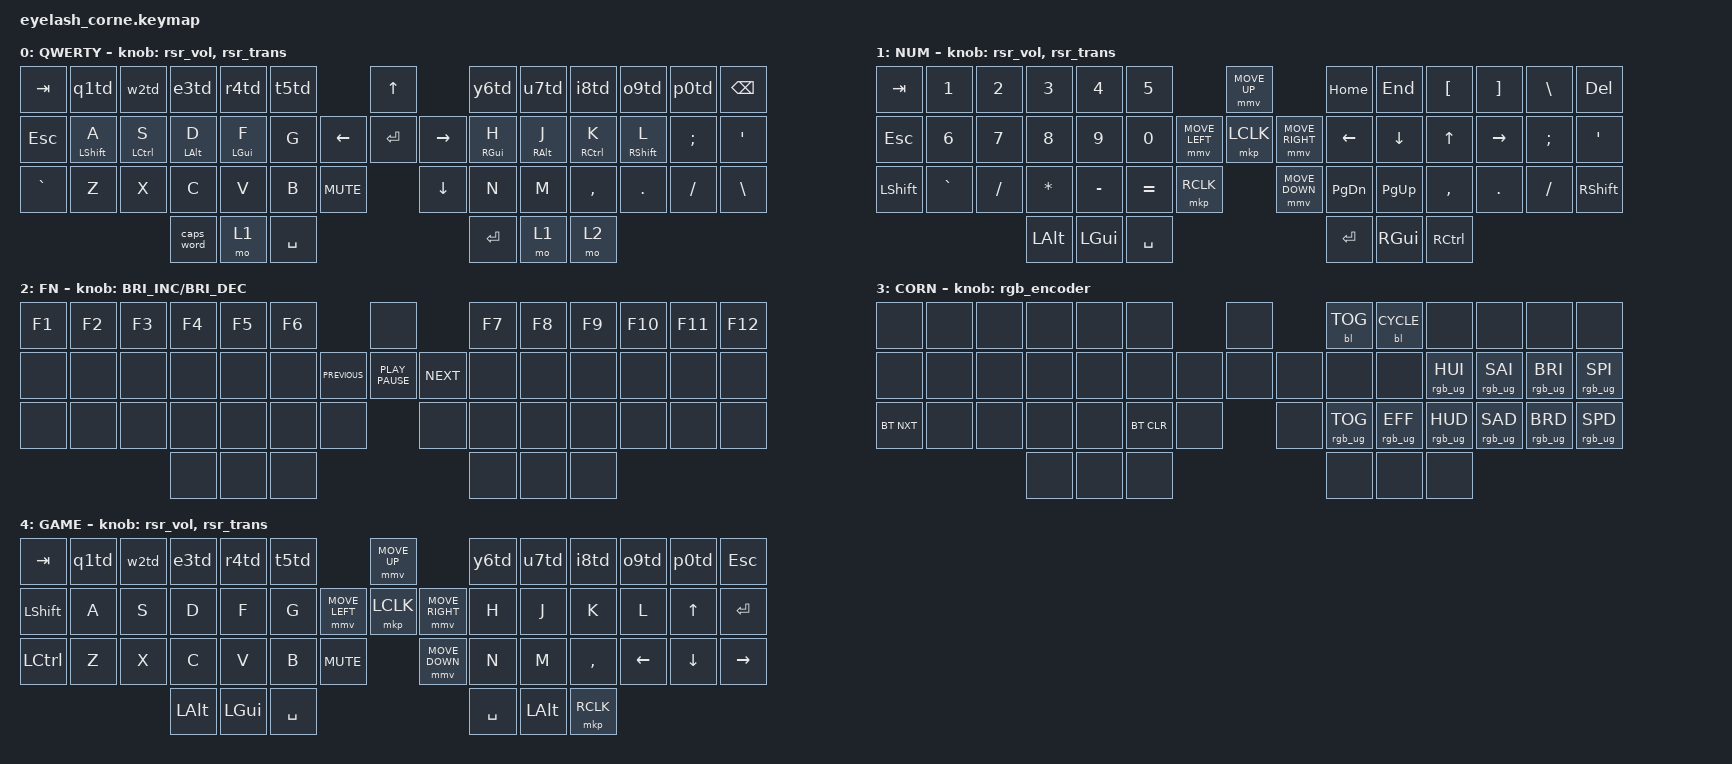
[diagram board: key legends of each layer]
#define ZMK_POINTING_DEFAULT_MOVE_VAL 1200  // 600
#define ZMK_POINTING_DEFAULT_SCRL_VAL 25   // 10
#define LEFT_HAND  0 1 2  3  4  5 13 14 15 16 17 18 28 29 30 31 32 33 42 43 44
#define JOYSTICK   6 19 20 21 35
#define RIGHT_HAND 7 8 9 10 11 12 22 23 24 25 26 27 36 37 38 39 40 41 45 46 47
#define KNOB 34
#define LEFT_THUMB 42 43 44
#define RIGHT_THUMB 45 46 47
#define TAB_POS 0
#define ESC_POS 13
#define HOME_ROW_LEFT 14 15 16 17
#define HOME_ROW_RIGHT 22 23 24 25

#include <input/processors.dtsi>
#include <zephyr/dt-bindings/input/input-event-codes.h>
#include <behaviors.dtsi>
#include <behaviors/runtime-sensor-rotate.dtsi>
#include <dt-bindings/zmk/bt.h>
#include <dt-bindings/zmk/keys.h>
#include <dt-bindings/zmk/outputs.h>
#include <dt-bindings/zmk/backlight.h>
#include <dt-bindings/zmk/pointing.h>
#include <dt-bindings/zmk/rgb.h>

&mmv_input_listener { input-processors = <&zip_xy_scaler 2 1>; };

&msc_input_listener { input-processors = <&zip_scroll_scaler 2 1>; };

&msc {
    acceleration-exponent = <1>;      // 0
    time-to-max-speed-ms = <100>;       // 300
    delay-ms = <0>;                   // 0
};

&mmv {
    time-to-max-speed-ms = <500>;
    acceleration-exponent = <1>;
    trigger-period-ms = <16>;
};

&soft_off { hold-time-ms = <2000>; };

/ {
    behaviors {
        td0: td0 {
            compatible = "zmk,behavior-tap-dance";
            display-name = "Shift/Caps Lock Tap Dance";
            #binding-cells = <0>;
            bindings = <&kp LEFT_SHIFT>, <&kp CAPS>;
        };

        spenter: spenter {
            compatible = "zmk,behavior-tap-dance";
            label = "SPENTER";
            #binding-cells = <0>;
            bindings = <&kp SPACE>, <&kp ENTER>;
        };

        hml: home_row_mod_left {
            compatible = "zmk,behavior-hold-tap";
            #binding-cells = <2>;
            flavor = "balanced";

            tapping-term-ms = <240>;
            quick-tap-ms = <150>;
            // require-prior-idle-ms = <110>;

            bindings = <&kp>, <&kp>;

            hold-trigger-key-positions = <RIGHT_HAND LEFT_THUMB JOYSTICK TAB_POS ESC_POS KNOB HOME_ROW_LEFT>; // List of keys on the right side of the keyboard
            // hold-trigger-on-release;
        };

        hmr: home_row_mod_right {
            compatible = "zmk,behavior-hold-tap";
            #binding-cells = <2>;
            flavor = "balanced";

            tapping-term-ms = <240>;
            quick-tap-ms = <150>;
            // require-prior-idle-ms = <150>;

            bindings = <&kp>, <&kp>;

            hold-trigger-key-positions = <LEFT_HAND RIGHT_THUMB JOYSTICK TAB_POS ESC_POS KNOB HOME_ROW_RIGHT>; // List of keys on the left side of the keyboard
            // hold-trigger-on-release;
        };

        q1td: q1td {
            compatible = "zmk,behavior-tap-dance";
            label = "Q1TD";
            #binding-cells = <0>;
            bindings = <&kp Q>, <&kp N1>;
        };

        w2td: w2td {
            compatible = "zmk,behavior-tap-dance";
            label = "W2TD";
            #binding-cells = <0>;
            bindings = <&kp W>, <&kp N2>;
        };

        e3td: e3td {
            compatible = "zmk,behavior-tap-dance";
            label = "E3TD";
            #binding-cells = <0>;
            bindings = <&kp E>, <&kp N3>;
        };

        r4td: r4td {
            compatible = "zmk,behavior-tap-dance";
            label = "R4TD";
            #binding-cells = <0>;
            bindings = <&kp R>, <&kp N4>;
        };

        t5td: t5td {
            compatible = "zmk,behavior-tap-dance";
            label = "T5TD";
            #binding-cells = <0>;
            bindings = <&kp T>, <&kp N5>;
        };

        y6td: y6td {
            compatible = "zmk,behavior-tap-dance";
            label = "Y6TD";
            #binding-cells = <0>;
            bindings = <&kp Y>, <&kp N6>;
        };

        u7td: u7td {
            compatible = "zmk,behavior-tap-dance";
            label = "U7TD";
            #binding-cells = <0>;
            bindings = <&kp U>, <&kp N7>;
        };

        i8td: i8td {
            compatible = "zmk,behavior-tap-dance";
            label = "I8TD";
            #binding-cells = <0>;
            bindings = <&kp I>, <&kp N8>;
        };

        o9td: o9td {
            compatible = "zmk,behavior-tap-dance";
            label = "O9TD";
            #binding-cells = <0>;
            bindings = <&kp O>, <&kp N9>;
        };

        p0td: p0td {
            compatible = "zmk,behavior-tap-dance";
            label = "P0TD";
            #binding-cells = <0>;
            bindings = <&kp P>, <&kp N0>;
        };

        td_bp_del: td_bp_del {
            compatible = "zmk,behavior-tap-dance";
            label = "TD_BP_DEL";
            #binding-cells = <0>;
            bindings = <&kp BACKSPACE>, <&kp DELETE>;
        };

        rgb_encoder: rgb_encoder {
            compatible = "zmk,behavior-sensor-rotate";
            #sensor-binding-cells = <0>;
            bindings = <&rgb_ug RGB_BRI>, <&rgb_ug RGB_BRD>;
        };

        scroll_encoder: scroll_encoder {
            compatible = "zmk,behavior-sensor-rotate";
            #sensor-binding-cells = <0>;
            bindings = <&msc SCRL_DOWN>, <&msc SCRL_UP>;

            tap-ms = <100>;
        };

        rsr_trans: rsr_trans {
            compatible = "zmk,behavior-runtime-sensor-rotate";
            #sensor-binding-cells = <0>;
            tap-ms = <0>;
        };

        rsr_vol: rsr_vol {
            compatible = "zmk,behavior-runtime-sensor-rotate";
            #sensor-binding-cells = <0>;
            tap-ms = <5>;
            cw-binding = <&kp C_VOL_UP>;
            ccw-binding = <&kp C_VOL_DN>;
        };
    };

    combos {
        compatible = "zmk,combos";

        softoff {
            bindings = <&soft_off>;
            key-positions = <1 15 29>;
        };

        corne_layer {
            bindings = <&mo 3>;
            key-positions = <42 47>;
        };

        game_mode {
            bindings = <&tog 4>;
            key-positions = <2 15 14 16 40 39 41 26>;
        };
    };

    keymap {
        compatible = "zmk,keymap";

        qwerty {
            display-name = "QWERTY";
            bindings = <
&kp TAB     &q1td              &w2td                &e3td            &r4td           &t5td                              &kp UP                &y6td             &u7td             &i8td                 &o9td               &p0td     &kp BACKSPACE
&kp ESCAPE  &hml LEFT_SHIFT A  &hml LEFT_CONTROL S  &hml LEFT_ALT D  &mt LEFT_GUI F  &kp G                    &kp LEFT  &kp ENTER  &kp RIGHT  &hmr RIGHT_GUI H  &hmr RIGHT_ALT J  &hmr RIGHT_CONTROL K  &hmr RIGHT_SHIFT L  &kp SEMI  &kp SINGLE_QUOTE
&kp GRAVE   &kp Z              &kp X                &kp C            &kp V           &kp B      &kp C_MUTE              &kp DOWN              &kp N             &kp M             &kp COMMA             &kp DOT             &kp FSLH  &kp BSLH
                                                    &caps_word       &mo 1           &kp SPACE                                                &kp ENTER         &mo 1             &mo 2
            >;

            sensor-bindings = <&rsr_vol &rsr_trans>;
        };

        num {
            bindings = <
&kp TAB         &kp N1     &kp N2     &kp N3        &kp N4        &kp N5                                  &mmv MOVE_UP                     &kp HOME       &kp END         &kp LBKT      &kp RBKT         &kp BSLH  &kp DELETE
&kp ESC         &kp N6     &kp N7     &kp N8        &kp N9        &kp N0                  &mmv MOVE_LEFT  &mkp LCLK       &mmv MOVE_RIGHT  &kp LEFT       &kp DOWN_ARROW  &kp UP_ARROW  &kp RIGHT_ARROW  &kp SEMI  &kp APOS
&kp LEFT_SHIFT  &kp GRAVE  &kp SLASH  &kp ASTERISK  &kp MINUS     &kp EQUAL  &mkp RCLK                    &mmv MOVE_DOWN                   &kp PAGE_DOWN  &kp PAGE_UP     &kp COMMA     &kp DOT          &kp FSLH  &kp RSHFT
                                      &kp LALT      &kp LEFT_GUI  &kp SPACE                                                                &kp ENTER      &kp RIGHT_GUI   &kp RCTRL
            >;

            sensor-bindings = <&rsr_vol &rsr_trans>;
            label = "NUM";
        };

        fn {
            bindings = <
&kp F1  &kp F2  &kp F3  &kp F4  &kp F5  &kp F6                           &none                         &kp F7  &kp F8  &kp F9  &kp F10  &kp F11  &kp F12
&none   &none   &none   &none   &none   &none            &kp K_PREVIOUS  &kp K_PLAY_PAUSE  &kp K_NEXT  &none   &none   &none   &none    &none    &none
&none   &none   &none   &none   &none   &none   &none                    &none                         &none   &none   &none   &none    &none    &none
                        &none   &none   &none                                                          &none   &none   &none
            >;

            sensor-bindings = <&inc_dec_kp C_BRIGHTNESS_INC C_BRIGHTNESS_DEC>;
            label = "FN";
        };

        corne {
            bindings = <
&none       &none  &none  &none  &none  &none                       &none         &bl BL_TOG       &bl BL_CYCLE     &none            &none            &none            &none
&none       &none  &none  &none  &none  &none                &none  &none  &none  &none            &none            &rgb_ug RGB_HUI  &rgb_ug RGB_SAI  &rgb_ug RGB_BRI  &rgb_ug RGB_SPI
&bt BT_NXT  &none  &none  &none  &none  &bt BT_CLR  &none           &none         &rgb_ug RGB_TOG  &rgb_ug RGB_EFF  &rgb_ug RGB_HUD  &rgb_ug RGB_SAD  &rgb_ug RGB_BRD  &rgb_ug RGB_SPD
                          &none  &none  &none                                     &none            &none            &none
            >;

            sensor-bindings = <&rgb_encoder>;
            label = "CORN";
        };

        game {
            bindings = <
&kp TAB    &q1td  &w2td  &e3td     &r4td     &t5td                                    &mmv MOVE_UP                     &y6td      &u7td     &i8td      &o9td           &p0td           &kp ESCAPE
&kp LSHFT  &kp A  &kp S  &kp D     &kp F     &kp G                    &mmv MOVE_LEFT  &mkp LCLK       &mmv MOVE_RIGHT  &kp H      &kp J     &kp K      &kp L           &kp UP_ARROW    &kp ENTER
&kp LCTRL  &kp Z  &kp X  &kp C     &kp V     &kp B      &kp C_MUTE                    &mmv MOVE_DOWN                   &kp N      &kp M     &kp COMMA  &kp LEFT_ARROW  &kp DOWN_ARROW  &kp RIGHT_ARROW
                         &kp LALT  &kp LGUI  &kp SPACE                                                                 &kp SPACE  &kp LALT  &mkp RCLK
            >;

            sensor-bindings = <&rsr_vol &rsr_trans>;
            label = "GAME";
        };
    };
};
